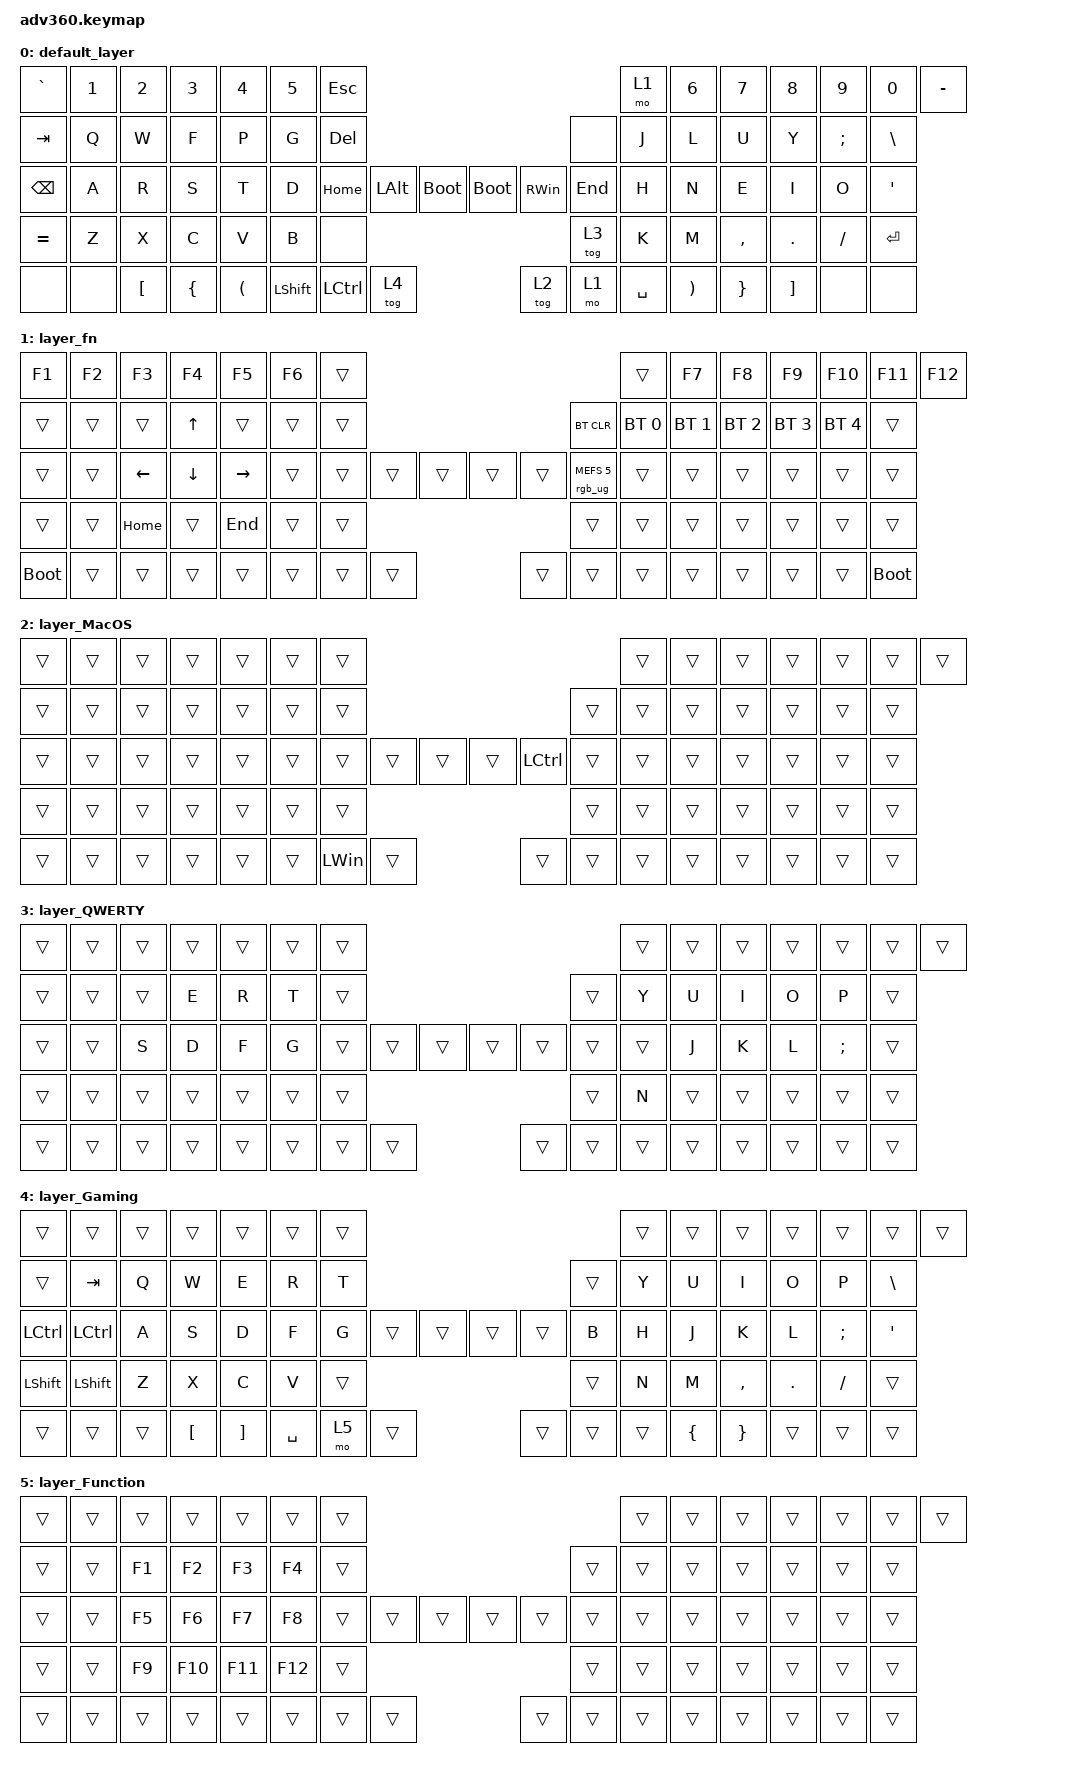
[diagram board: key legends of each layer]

/*
 * Copyright (c) 2020 The ZMK Contributors
 *
 * SPDX-License-Identifier: MIT
 */


/* THIS FILE WAS GENERATED!
 *
 * This file was generated automatically. You may or may not want to
 * edit it directly.
 */

#include <behaviors.dtsi>
#include <dt-bindings/zmk/keys.h>
#include <dt-bindings/zmk/bt.h>
#include <dt-bindings/zmk/rgb.h>

/ {
  behaviors {
    #include "macros.dtsi"
    #include "version.dtsi"

    hm: homerow_mods {
        compatible = "zmk,behavior-hold-tap";
        label = "HOMEROW_MODS";
        #binding-cells = <2>;
        tapping-term-ms = <200>;
        quick_tap_ms = <175>;
        flavor = "tap-preferred";
        bindings = <&kp>, <&kp>;
    };
  };

    keymap {
        compatible = "zmk,keymap";


        default_layer {
            bindings = <
     &kp GRAVE  &kp N1            &kp N2          &kp N3                &kp N4  &kp N5               &kp ESC                                                                            &mo 1  &kp N6                 &kp N7           &kp N8             &kp N9    &kp N0  &kp MINUS
       &kp TAB   &kp Q             &kp W           &kp F                 &kp P   &kp G               &kp DEL                                                                            &none   &kp J                  &kp L            &kp U              &kp Y  &kp SEMI   &kp BSLH
 &kp BACKSPACE   &kp A             &kp R           &kp S                 &kp T   &kp D              &kp HOME          &kp LALT  &bootloader                  &bootloader  &kp RWIN    &kp END   &kp H                  &kp N            &kp E              &kp I     &kp O    &kp SQT
     &kp EQUAL   &kp Z             &kp X           &kp C                 &kp V   &kp B                                                &none                       &tog 3                        &kp K                  &kp M        &kp COMMA            &kp DOT  &kp FSLH  &kp ENTER
         &none   &none  &kp LEFT_BRACKET  &kp LEFT_BRACE  &kp LEFT_PARENTHESIS                    &kp LSHIFT  &kp LEFT_CONTROL       &tog 4                       &tog 2     &mo 1  &kp SPACE          &kp RIGHT_PARENTHESIS  &kp RIGHT_BRACE  &kp RIGHT_BRACKET     &none      &none
            >;
        };

        layer_fn {
            bindings = <
      &kp F1  &kp F2    &kp F3    &kp F4     &kp F5  &kp F6            &trans                                                                  &trans        &kp F7        &kp F8        &kp F9       &kp F10       &kp F11      &kp F12
      &trans  &trans    &trans    &kp UP     &trans  &trans            &trans                                                              &bt BT_CLR  &bt BT_SEL 0  &bt BT_SEL 1  &bt BT_SEL 2  &bt BT_SEL 3  &bt BT_SEL 4       &trans
      &trans  &trans  &kp LEFT  &kp DOWN  &kp RIGHT  &trans            &trans  &trans  &trans                  &trans  &trans  &rgb_ug RGB_MEFS_CMD 5        &trans        &trans        &trans        &trans        &trans       &trans
      &trans  &trans  &kp HOME    &trans    &kp END  &trans                            &trans                  &trans                                        &trans        &trans        &trans        &trans        &trans       &trans
 &bootloader  &trans    &trans    &trans     &trans                    &trans  &trans  &trans                  &trans  &trans                  &trans                      &trans        &trans        &trans        &trans  &bootloader
            >;
        };

        layer_MacOS {
            bindings = <
 &trans  &trans  &trans  &trans  &trans  &trans            &trans                                                                  &trans  &trans  &trans  &trans  &trans  &trans  &trans
 &trans  &trans  &trans  &trans  &trans  &trans            &trans                                                                  &trans  &trans  &trans  &trans  &trans  &trans  &trans
 &trans  &trans  &trans  &trans  &trans  &trans            &trans        &trans  &trans                  &trans  &kp LEFT_CONTROL  &trans  &trans  &trans  &trans  &trans  &trans  &trans
 &trans  &trans  &trans  &trans  &trans  &trans                                  &trans                  &trans                            &trans  &trans  &trans  &trans  &trans  &trans
 &trans  &trans  &trans  &trans  &trans                    &trans  &kp LEFT_WIN  &trans                  &trans            &trans  &trans          &trans  &trans  &trans  &trans  &trans
            >;
        };

        layer_QWERTY {
            bindings = <
 &trans  &trans  &trans  &trans  &trans  &trans            &trans                                                  &trans  &trans  &trans  &trans  &trans         &trans  &trans
 &trans  &trans  &trans   &kp E   &kp R   &kp T            &trans                                                  &trans   &kp Y   &kp U   &kp I   &kp O          &kp P  &trans
 &trans  &trans   &kp S   &kp D   &kp F   &kp G            &trans  &trans  &trans                  &trans  &trans  &trans  &trans   &kp J   &kp K   &kp L  &kp SEMICOLON  &trans
 &trans  &trans  &trans  &trans  &trans  &trans                            &trans                  &trans                   &kp N  &trans  &trans  &trans         &trans  &trans
 &trans  &trans  &trans  &trans  &trans                    &trans  &trans  &trans                  &trans  &trans  &trans          &trans  &trans  &trans         &trans  &trans
            >;
        };

        layer_Gaming {
            bindings = <
           &trans      &trans  &trans            &trans             &trans  &trans               &trans                                                  &trans  &trans          &trans           &trans      &trans     &trans            &trans
           &trans     &kp TAB   &kp Q             &kp W              &kp E   &kp R                &kp T                                                  &trans   &kp Y           &kp U            &kp I       &kp O      &kp P     &kp BACKSLASH
 &kp LEFT_CONTROL   &kp LCTRL   &kp A             &kp S              &kp D   &kp F                &kp G  &trans  &trans                  &trans  &trans   &kp B   &kp H           &kp J            &kp K       &kp L   &kp SEMI  &kp SINGLE_QUOTE
       &kp LSHIFT  &kp LSHIFT   &kp Z             &kp X              &kp C   &kp V                               &trans                  &trans                   &kp N           &kp M        &kp COMMA  &kp PERIOD  &kp SLASH            &trans
           &trans      &trans  &trans  &kp LEFT_BRACKET  &kp RIGHT_BRACKET                    &kp SPACE   &mo 5  &trans                  &trans  &trans  &trans          &kp LEFT_BRACE  &kp RIGHT_BRACE      &trans     &trans            &trans
            >;
        };

        layer_Function {
            bindings = <
 &trans  &trans  &trans   &trans   &trans   &trans            &trans                                                  &trans  &trans  &trans  &trans  &trans  &trans  &trans
 &trans  &trans  &kp F1   &kp F2   &kp F3   &kp F4            &trans                                                  &trans  &trans  &trans  &trans  &trans  &trans  &trans
 &trans  &trans  &kp F5   &kp F6   &kp F7   &kp F8            &trans  &trans  &trans                  &trans  &trans  &trans  &trans  &trans  &trans  &trans  &trans  &trans
 &trans  &trans  &kp F9  &kp F10  &kp F11  &kp F12                            &trans                  &trans                  &trans  &trans  &trans  &trans  &trans  &trans
 &trans  &trans  &trans   &trans   &trans                     &trans  &trans  &trans                  &trans  &trans  &trans          &trans  &trans  &trans  &trans  &trans
            >;
        };

    };
};
